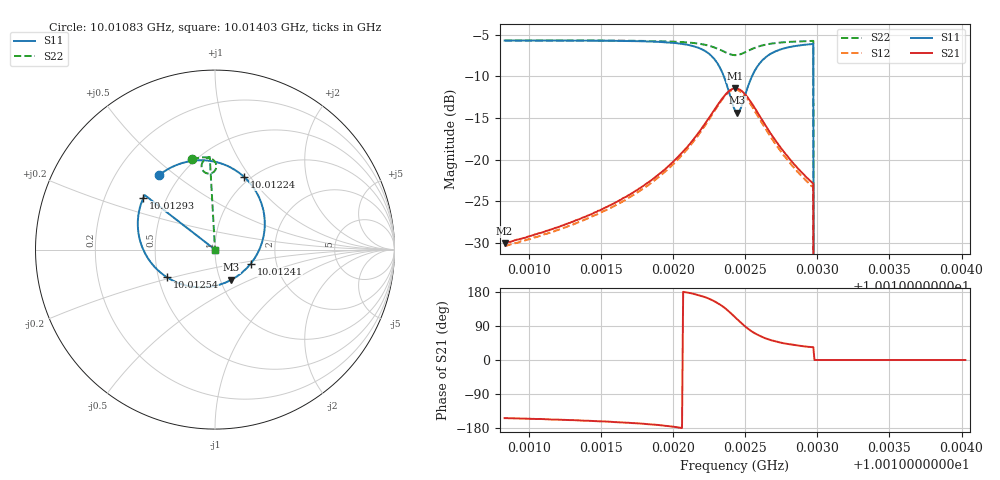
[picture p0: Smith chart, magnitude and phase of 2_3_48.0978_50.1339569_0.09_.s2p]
#  HZ  S  RI  R  50.00
! Rohde & Schwarz Vector Network Analyzer
! Rohde-Schwarz,ZNB20-2Port,1311601062101988,3.16
! Created: UTC 12/23/2023, 3:34:45 AM
! freq[Hz]  re:S11  im:S11  re:S21  im:S21  re:S12  im:S12  re:S22  im:S22
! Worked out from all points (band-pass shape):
!   401 points, 10.01083 GHz to 10.01403 GHz, reference 50 ohm
!   highest |S21| = -11.43 dB at 10.01243 GHz (marker M1); lowest = -30.0 dB at 10.01083 GHz (marker M2)
!   |S21| within 3 dB of the highest: 10.01227 GHz to 10.01259 GHz (319.8 kHz wide, 0.00319 % of centre)
!   lowest |S11| = -14.4 dB at 10.01244 GHz (marker M3), VSWR 1.47, Z = 56.4 - j19.7 ohm
!   |S11| at or under -10 dB: 10.01235 GHz to 10.01255 GHz (194.8 kHz wide, 0.00195 % of centre); 10.01297 GHz to end of sweep
!   |S22| runs from - to -5.7 dB; largest |S21 - S12| = 0.012
!   S11 on the Smith chart (normalised r, x): 10.01083 GHz: 0.39, +0.44; 10.01224 GHz: 0.94, +0.94; 10.01241 GHz: 1.48, -0.24; 10.01254 GHz: 0.56, -0.19; 10.01293 GHz: 0.37, +0.28; 10.01403 GHz: 1.00, +0.00
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1.0010829e10  -0.3105 0.4164  -0.0282 -0.0141  -0.0262 -0.0151  -0.1281 0.504
1.0011364e10  -0.2519 0.4539  -0.042 -0.0154  -0.0394 -0.0168  -0.0905 0.5118
1.00119e10  -0.1234 0.495  -0.0809 -0.0117  -0.0774 -0.0154  -0.0436 0.5133
1.0012124e10  0.021 0.484  -0.1272 0.00874  -0.1238 0.00191  -0.0151 0.5034
1.0012244e10  0.1638 0.4033  -0.1682 0.0535  -0.167 0.0428  0.00253 0.4846
1.00123e10  0.2398 0.3023  -0.1838 0.0991  -0.1857 0.0871  0.00741 0.4672
1.0012348e10  0.2771 0.1615  -0.1826 0.1535  -0.1866 0.1439  0.00374 0.4474
1.001238e10  0.263 0.0428  -0.1645 0.1956  -0.1702 0.1862  -0.00531 0.4345
1.0012412e10  0.2001 -0.0775  -0.1282 0.2335  -0.1353 0.2253  -0.0206 0.4252
1.0012428e10  0.1502 -0.1284  -0.1047 0.2469  -0.1103 0.2398  -0.0298 0.4234
1.0012444e10  0.0915 -0.1682  -0.0796 0.2551  -0.084 0.2486  -0.0389 0.4236
1.0012484e10  -0.0744 -0.2104  -0.0148 0.254  -0.0195 0.247  -0.0595 0.4322
1.001254e10  -0.2669 -0.1548  0.0514 0.2148  0.0446 0.2078  -0.0737 0.4541
1.0012596e10  -0.3725 -0.0502  0.0795 0.167  0.0726 0.1612  -0.074 0.4742
1.0012668e10  -0.4226 0.0706  0.0877 0.1183  0.08 0.1153  -0.0666 0.4918
1.001278e10  -0.4263 0.1951  0.0789 0.0739  0.0721 0.0733  -0.0516 0.5061
1.0012931e10  -0.3994 0.2874  0.0634 0.0442  0.0583 0.0448  -0.0335 0.5147
1.0012955e10  -0.3951 0.2977  0.0612 0.0416  0.0561 0.0418  -0.031 0.5157
1.0012963e10  -0.3934 0.3008  0.0603 0.0406  0.0557 0.041  -0.0301 0.5159
1.0012995e10  0 0  0 0  0 0  0 0
1.0013499e10  0 0  0 0  0 0  0 0
1.0014027e10  0 0  0 0  0 0  0 0
